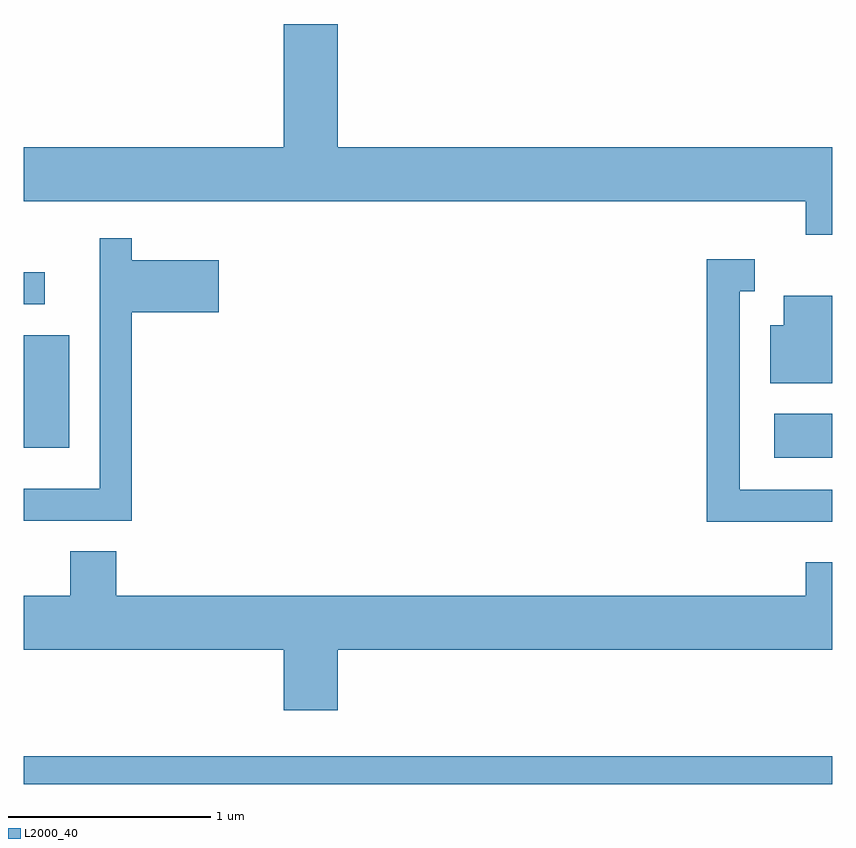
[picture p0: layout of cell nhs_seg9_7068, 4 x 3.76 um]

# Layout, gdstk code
import gdstk
lib = gdstk.Library(unit=1e-6, precision=1e-09)
def R(c, l, rs):  # rectangles x0, y0, x1, y1
    for r in rs: c.add(gdstk.rectangle(r[:2], r[2:], *l))
def P(c, l, *ps):  # polygons
    for p in ps: c.add(gdstk.Polygon(p, *l))
L2000_40 = (2000, 40)

nhs_seg9_7068 = lib.new_cell('nhs_seg9_7068')
R(nhs_seg9_7068, L2000_40, [(393.611,2044.432,397.611,2044.569), (397.326,2046.046,397.611,2046.264), (393.611,2046.096,393.834,2046.654), (393.611,2046.806,393.713,2046.964)])
P(nhs_seg9_7068, L2000_40, [(397.611,2047.584),(395.164,2047.584),(395.164,2048.194),(394.896,2048.194),(394.896,2047.584),(393.611,2047.584),(393.611,2047.316),(397.481,2047.316),(397.481,2047.151),(397.611,2047.151)],
  [(394.144,2046.766),(394.574,2046.766),(394.574,2047.024),(394.144,2047.024),(394.144,2047.133),(393.986,2047.133),(393.986,2045.894),(393.611,2045.894),(393.611,2045.736),(394.144,2045.736)],
  [(397.611,2045.889),(397.154,2045.889),(397.154,2046.871),(397.228,2046.871),(397.228,2047.029),(396.991,2047.029),(396.991,2045.731),(397.611,2045.731)],
  [(397.611,2046.849),(397.371,2046.849),(397.371,2046.704),(397.306,2046.704),(397.306,2046.416),(397.611,2046.416)],
  [(393.841,2045.584),(393.841,2045.364),(393.611,2045.364),(393.611,2045.096),(394.896,2045.096),(394.896,2044.796),(395.164,2044.796),(395.164,2045.096),(397.611,2045.096),(397.611,2045.529),(397.481,2045.529),(397.481,2045.364),(394.069,2045.364),(394.069,2045.584)])

lib.write_gds('nhs_seg9_7068.gds')
